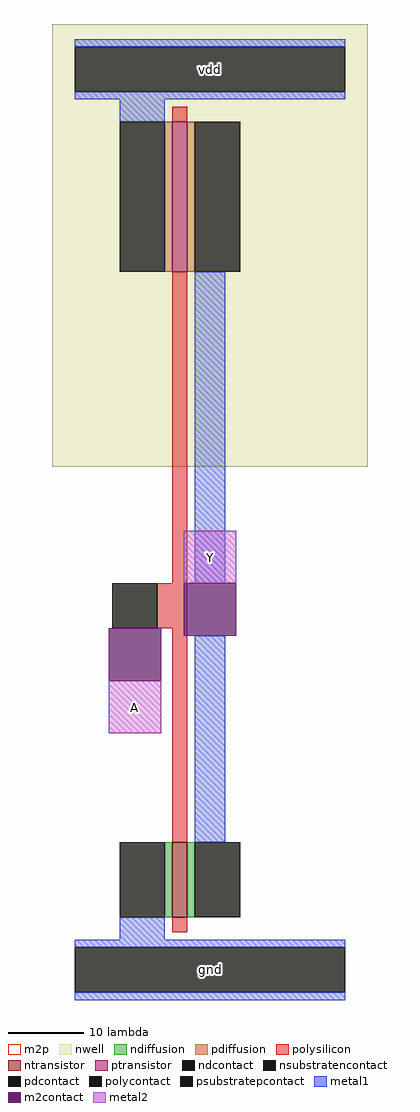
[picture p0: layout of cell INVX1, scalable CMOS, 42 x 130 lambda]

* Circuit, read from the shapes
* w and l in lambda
.subckt INVX1 A Y vdd gnd
M1 Y A gnd gnd nfet w=10 l=2
M2 Y A vdd vdd pfet w=20 l=2
.ends

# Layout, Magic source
magic
tech scmos
magscale 1 2
<< nwell >>
rect -12 134 72 252
<< ntransistor >>
rect 20 14 24 34
<< ptransistor >>
rect 20 186 24 226
<< ndiffusion >>
rect 18 14 20 34
rect 24 14 26 34
<< pdiffusion >>
rect 18 186 20 226
rect 24 186 26 226
<< ndcontact >>
rect 6 14 18 34
rect 26 14 38 34
<< pdcontact >>
rect 6 186 18 226
rect 26 186 38 226
<< psubstratepcontact >>
rect -6 -6 66 6
<< nsubstratencontact >>
rect -6 234 66 246
<< polysilicon >>
rect 20 226 24 230
rect 20 103 24 186
rect 16 91 24 103
rect 20 34 24 91
rect 20 10 24 14
<< polycontact >>
rect 4 91 16 103
<< metal1 >>
rect -6 246 66 248
rect -6 232 66 234
rect 6 226 18 232
rect 26 103 34 186
rect 26 34 34 89
rect 6 8 18 14
rect -6 6 66 8
rect -6 -8 66 -6
<< m2contact >>
rect 3 77 17 91
rect 23 89 37 103
<< metal2 >>
rect 23 103 37 117
rect 3 63 17 77
<< m2p >>
rect 23 103 37 117
rect 3 63 17 77
<< labels >>
rlabel metal1 -6 -8 66 8 0 gnd
port 3 nsew ground bidirectional abutment
rlabel metal1 -6 232 66 248 0 vdd
port 2 nsew power bidirectional abutment
rlabel metal2 3 63 17 77 0 A
port 0 nsew signal input
rlabel metal2 23 103 37 117 0 Y
port 1 nsew signal output
<< properties >>
string FIXED_BBOX 0 0 60 240
string LEFclass CORE
string LEFsite core
string LEFsymmetry X Y
<< end >>
